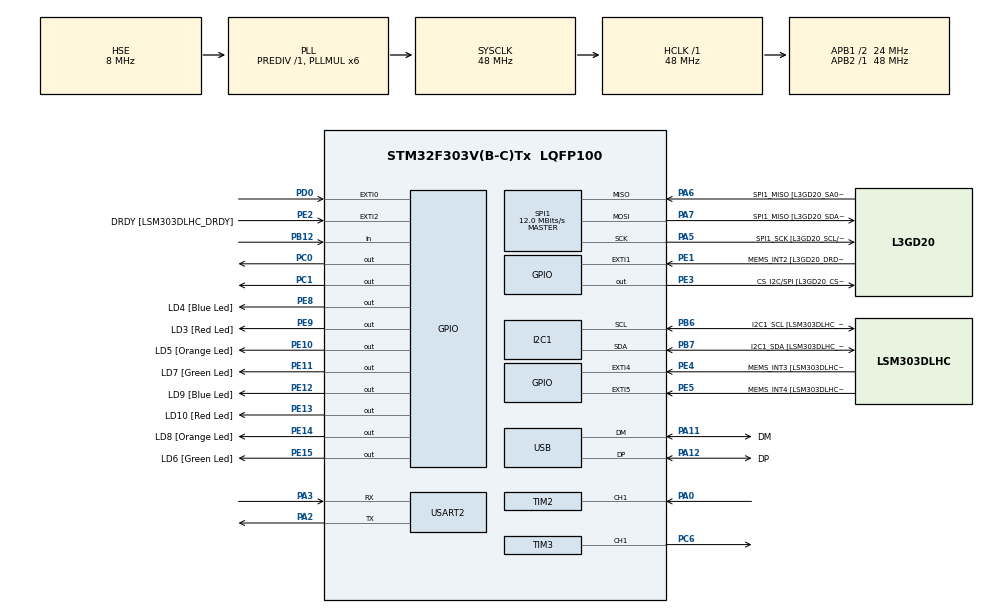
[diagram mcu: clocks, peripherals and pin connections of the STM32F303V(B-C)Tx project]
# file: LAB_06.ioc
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I2C1.Timing=0x00201D2B
I2C1.Timing-I2C=0x2000090E
Mcu.Family=STM32F3
Mcu.Name=STM32F303V(B-C)Tx
Mcu.Package=LQFP100
NVIC.EXTI0_IRQn=true\:0\:0\:false\:false\:true\:true\:true\:true
NVIC.PriorityGroup=NVIC_PRIORITYGROUP_0
NVIC.TIM2_IRQn=true\:0\:0\:false\:false\:true\:true\:true\:true
PA0.Signal=S_TIM2_CH1_ETR
PA11.GPIO_Label=DM
PA11.Mode=Device
PA11.Signal=USB_DM
PA12.GPIO_Label=DP
PA12.Mode=Device
PA12.Signal=USB_DP
PA13.GPIO_Label=SWDIO
PA13.Mode=Serial_Wire
PA13.Signal=SYS_JTMS-SWDIO
PA14.GPIO_Label=SWCLK
PA14.Mode=Serial_Wire
PA14.Signal=SYS_JTCK-SWCLK
PA2.Mode=Asynchronous
PA2.Signal=USART2_TX
PA3.Mode=Asynchronous
PA3.Signal=USART2_RX
PA5.GPIO_Label=SPI1_SCK [L3GD20_SCL/SPC]
PA5.Mode=Full_Duplex_Master
PA5.Signal=SPI1_SCK
PA6.GPIO_Label=SPI1_MISO [L3GD20_SA0/SDO]
PA6.Mode=Full_Duplex_Master
PA6.Signal=SPI1_MISO
PA7.GPIO_Label=SPI1_MISO [L3GD20_SDA/SDI/SDO]
PA7.Mode=Full_Duplex_Master
PA7.Signal=SPI1_MOSI
PB12.Signal=GPIO_Input
PB3.GPIO_Label=SWO
PB3.Signal=SYS_JTDO-TRACESWO
PB6.GPIO_Label=I2C1_SCL [LSM303DLHC_SCL]
PB6.GPIO_Pu=GPIO_PULLUP
PB6.Mode=I2C
PB6.Signal=I2C1_SCL
PB7.GPIO_Label=I2C1_SDA [LSM303DLHC_SDA]
PB7.GPIO_Pu=GPIO_PULLUP
PB7.Mode=I2C
PB7.Signal=I2C1_SDA
PC0.Signal=GPIO_Output
PC1.Signal=GPIO_Output
PC14-OSC32_IN.GPIO_Label=OSC32_IN
PC14-OSC32_IN.Signal=RCC_OSC32_IN
PC15-OSC32_OUT.GPIO_Label=OSC32_OUT
PC15-OSC32_OUT.Signal=RCC_OSC32_OUT
PC6.Signal=S_TIM3_CH1
PD0.Signal=GPXTI0
PE1.GPIO_Label=MEMS_INT2 [L3GD20_DRDY/INT2]
PE1.GPIO_ModeDefaultEXTI=GPIO_MODE_EVT_RISING
PE1.Signal=GPXTI1
PE10.GPIO_Label=LD5 [Orange Led]
PE10.Signal=GPIO_Output
PE11.GPIO_Label=LD7 [Green Led]
PE11.Signal=GPIO_Output
PE12.GPIO_Label=LD9 [Blue Led]
PE12.Signal=GPIO_Output
PE13.GPIO_Label=LD10 [Red Led]
PE13.Signal=GPIO_Output
PE14.GPIO_Label=LD8 [Orange Led]
PE14.Signal=GPIO_Output
PE15.GPIO_Label=LD6 [Green Led]
PE15.Signal=GPIO_Output
PE2.GPIO_Label=DRDY [LSM303DLHC_DRDY]
PE2.GPIO_ModeDefaultEXTI=GPIO_MODE_EVT_RISING
PE2.Signal=GPXTI2
PE3.GPIO_Label=CS_I2C/SPI [L3GD20_CS_I2C/SPI]
PE3.Signal=GPIO_Output
PE4.GPIO_Label=MEMS_INT3 [LSM303DLHC_INT1]
PE4.GPIO_ModeDefaultEXTI=GPIO_MODE_EVT_RISING
PE4.Signal=GPXTI4
PE5.GPIO_Label=MEMS_INT4 [LSM303DLHC_INT2]
PE5.GPIO_ModeDefaultEXTI=GPIO_MODE_EVT_RISING
PE5.Signal=GPXTI5
PE8.GPIO_Label=LD4 [Blue Led]
PE8.Signal=GPIO_Output
PE9.GPIO_Label=LD3 [Red Led]
PE9.Signal=GPIO_Output
PF0-OSC_IN.GPIO_Label=OSC_IN
PF0-OSC_IN.Mode=HSE-External-Clock-Source
PF0-OSC_IN.Signal=RCC_OSC_IN
PF1-OSC_OUT.GPIO_Label=OSC_OUT
PF1-OSC_OUT.Signal=RCC_OSC_OUT
ProjectManager.HeapSize=0x200
ProjectManager.StackSize=0x400
ProjectManager.TargetToolchain=CMake
RCC.AHBFreq_Value=48000000
RCC.APB1CLKDivider=RCC_HCLK_DIV2
RCC.APB1Freq_Value=24000000
RCC.APB1TimFreq_Value=48000000
RCC.APB2Freq_Value=48000000
RCC.APB2TimFreq_Value=48000000
RCC.CortexFreq_Value=48000000
RCC.HCLKFreq_Value=48000000
RCC.HSE_VALUE=8000000
RCC.HSI_VALUE=8000000
RCC.LSE_VALUE=32768
RCC.PLLMUL=RCC_PLL_MUL6
RCC.SYSCLKFreq_VALUE=48000000
RCC.SYSCLKSourceVirtual=RCC_SYSCLKSOURCE_PLLCLK
RCC.USBFreq_Value=48000000
SH.S_TIM2_CH1_ETR.0=TIM2_CH1,Input_Capture1_from_TI1
SH.S_TIM3_CH1.0=TIM3_CH1,PWM Generation1 CH1
SPI1.BaudRatePrescaler=SPI_BAUDRATEPRESCALER_4
SPI1.BaudRatePrescaler-Full_Duplex_Master=SPI_BAUDRATEPRESCALER_2
SPI1.CalculateBaudRate=12.0 MBits/s
SPI1.CalculateBaudRate-Full_Duplex_Master=24.0 MBits/s
SPI1.Direction=SPI_DIRECTION_2LINES
SPI1.Mode=SPI_MODE_MASTER
SPI1.Mode-Full_Duplex_Master=SPI_MODE_MASTER
SPI1.VirtualType=VM_MASTER
TIM2.Channel-Input_Capture1_from_TI1=TIM_CHANNEL_1
TIM2.Prescaler=47
TIM3.Prescaler=47
USART1.VirtualMode-Asynchronous=VM_ASYNC
VP_TIM2_VS_ClockSourceINT.Mode=Internal
VP_TIM3_VS_ClockSourceINT.Mode=Internal
board=STM32F3DISCOVERY

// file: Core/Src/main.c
/* USER CODE BEGIN Header */
/**
  ******************************************************************************
  * @file           : main.c
  * @brief          : Main program body
  ******************************************************************************
  * @attention
  *
  * Copyright (c) 2026 STMicroelectronics.
  * All rights reserved.
  *
  * This software is licensed under terms that can be found in the LICENSE file
  * in the root directory of this software component.
  * If no LICENSE file comes with this software, it is provided AS-IS.
  *
  ******************************************************************************
  */
/* USER CODE END Header */
#include "main.h"

/* USER CODE BEGIN Includes */
#include <stdio.h>
#include "string.h"
#include <stdarg.h>
/* USER CODE END Includes */

/* USER CODE BEGIN PD */
#define SAMPLES 10
#define PPR 330
/* USER CODE END PD */

I2C_HandleTypeDef hi2c1;

SPI_HandleTypeDef hspi1;

TIM_HandleTypeDef htim2;
TIM_HandleTypeDef htim3;

UART_HandleTypeDef huart2;

PCD_HandleTypeDef hpcd_USB_FS;

/* USER CODE BEGIN PV */
uint32_t averagePeriod = 0;
uint32_t frequency = 0;
uint32_t rpm = 0;
volatile uint32_t last_captured_value = 0;
volatile uint32_t captured_period = 0;
volatile uint8_t sample_count = 0;
volatile uint64_t period_sum = 0;
volatile uint8_t print_flag = 0;
/* USER CODE END PV */

void SystemClock_Config(void);
static void MX_GPIO_Init(void);
static void MX_I2C1_Init(void);
static void MX_SPI1_Init(void);
static void MX_TIM2_Init(void);
static void MX_USB_PCD_Init(void);
static void MX_USART1_UART_Init(void);
static void MX_TIM3_Init(void);

/* USER CODE BEGIN 0 */
void myPrintf(const char *fmt, ...) {
      char buffer[100];
          va_list args;
              va_start(args, fmt);
                  vsnprintf(buffer, sizeof(buffer), fmt, args);
                      va_end(args);
                          HAL_UART_Transmit(&huart2, (uint8_t*)buffer, strlen(buffer), HAL_MAX_DELAY);
}

void HAL_TIM_IC_CaptureCallback(TIM_HandleTypeDef *htim) {
    if (htim->Instance == TIM2) {
        uint32_t current_capture = HAL_TIM_ReadCapturedValue(htim, TIM_CHANNEL_1);
        if (last_captured_value != 0) {
            if (current_capture >= last_captured_value) captured_period = current_capture - last_captured_value;
            period_sum += captured_period;
            sample_count++;
            if (sample_count >= SAMPLES) {
                averagePeriod = period_sum / SAMPLES;
                period_sum = 0;
                sample_count = 0;
                print_flag = 1;
            }
        }
        last_captured_value = current_capture;
    }
}
/* USER CODE END 0 */

int main(void)
{

  /* MCU Configuration--------------------------------------------------------*/

  /* Reset of all peripherals, Initializes the Flash interface and the Systick. */
  HAL_Init();

  /* Configure the system clock */
  SystemClock_Config();

  /* Initialize all configured peripherals */
  MX_GPIO_Init();
  MX_I2C1_Init();
  MX_SPI1_Init();
  MX_TIM2_Init();
  MX_USB_PCD_Init();
  MX_USART1_UART_Init();
  MX_TIM3_Init();
  /* USER CODE BEGIN 2 */
  HAL_TIM_IC_Start_IT(&htim2, TIM_CHANNEL_1);
  /* USER CODE END 2 */

  /* Infinite loop */
  /* USER CODE BEGIN WHILE */
  while (1)
  {
    if (print_flag) {
          print_flag = 0;

      //     print_flag = 0;
      // }
      // TASK 2:
  //   if (new_capture_ready == 1) {
  //       if (period > 0) {
  //           float frequency = 1000000.0f / (float)period;

  //           int freq_whole = (int)frequency;
  //           int freq_decimal = (int)((frequency - freq_whole) * 100);

  //           myPrintf("IC Frequency: %d.%02d Hz\r\n", freq_whole, freq_decimal);
  //       }
  //       new_capture_ready = 0;

  // }
  // Task 3: Motor Speed Measurement using Polling
      // 1. Wait for signal to go HIGH
      // while (HAL_GPIO_ReadPin(GPIOB, GPIO_PIN_5) == GPIO_PIN_RESET);

      // // 2. Wait for the FIRST falling edge (transition from HIGH to LOW)
      // while (HAL_GPIO_ReadPin(GPIOB, GPIO_PIN_5) == GPIO_PIN_SET);

      // // Start TIM3 counter (1 µs tick base from Prescaler = 47)
      // __HAL_TIM_SET_COUNTER(&htim3, 0);
      // HAL_TIM_Base_Start(&htim3);

      // // 3. Wait for signal to go LOW back to HIGH
      // while (HAL_GPIO_ReadPin(GPIOB, GPIO_PIN_5) == GPIO_PIN_RESET);

      // // 4. Wait for the SECOND falling edge
      // while (HAL_GPIO_ReadPin(GPIOB, GPIO_PIN_5) == GPIO_PIN_SET);

      // // Stop TIM3 and capture elapsed ticks
      // HAL_TIM_Base_Stop(&htim3);
      // uint32_t captured_ticks = __HAL_TIM_GET_COUNTER(&htim3);

      // if (captured_ticks > 0) {
      //     float enc_frequency = 1000000.0f / (float)captured_ticks;
      //     float ppr = 374.0f; // Motor Pulses Per Revolution
      //     float rpm = (60.0f * enc_frequency) / ppr;

      //     int rpm_whole = (int)rpm;
      //     int rpm_decimal = (int)((rpm - rpm_whole) * 100);

      //     myPrintf("Motor RPM: %d.%02d RPM\r\n", rpm_whole, rpm_decimal);
      // }

      // HAL_Delay(100);

      //TASK_4:
      if (new_capture_ready == 1) {
          if (period > 0) {
              // 1. Calculate encoder frequency from the input capture period
              float frequency = 1000000.0f / (float)period;

              // 2. Calculate Motor RPM using the formula: RPM = (60 * frequency) / PPR[cite: 10]
              float ppr = 374.0f; // Standard Pulses Per Revolution for geared DC motors
              float rpm = (60.0f * frequency) / ppr;

              // Split frequency into integers for clean printing
              int freq_whole = (int)frequency;
              int freq_decimal = (int)((frequency - freq_whole) * 100);

              // Split RPM into integers for clean printing
              int rpm_whole = (int)rpm;
              int rpm_decimal = (int)((rpm - rpm_whole) * 100);

              // Print both frequency and calculated motor RPM over UART
              myPrintf("Encoder Freq: %d.%02d Hz | Motor RPM: %d.%02d RPM\r\n",
                       freq_whole, freq_decimal, rpm_whole, rpm_decimal);
          }
          new_capture_ready = 0;
      }

      HAL_Delay(100);
      /* USER CODE END WHILE */

  }
}

void SystemClock_Config(void)
{
  RCC_OscInitTypeDef RCC_OscInitStruct = {0};
  RCC_ClkInitTypeDef RCC_ClkInitStruct = {0};
  RCC_PeriphCLKInitTypeDef PeriphClkInit = {0};

  /** Initializes the RCC Oscillators according to the specified parameters
  * in the RCC_OscInitTypeDef structure.
  */
  RCC_OscInitStruct.OscillatorType = RCC_OSCILLATORTYPE_HSI|RCC_OSCILLATORTYPE_HSE;
  RCC_OscInitStruct.HSEState = RCC_HSE_BYPASS;
  RCC_OscInitStruct.HSEPredivValue = RCC_HSE_PREDIV_DIV1;
  RCC_OscInitStruct.HSIState = RCC_HSI_ON;
  RCC_OscInitStruct.HSICalibrationValue = RCC_HSICALIBRATION_DEFAULT;
  RCC_OscInitStruct.PLL.PLLState = RCC_PLL_ON;
  RCC_OscInitStruct.PLL.PLLSource = RCC_PLLSOURCE_HSE;
  RCC_OscInitStruct.PLL.PLLMUL = RCC_PLL_MUL6;
  if (HAL_RCC_OscConfig(&RCC_OscInitStruct) != HAL_OK)
  {
    Error_Handler();
  }

  /** Initializes the CPU, AHB and APB buses clocks
  */
  RCC_ClkInitStruct.ClockType = RCC_CLOCKTYPE_HCLK|RCC_CLOCKTYPE_SYSCLK
                              |RCC_CLOCKTYPE_PCLK1|RCC_CLOCKTYPE_PCLK2;
  RCC_ClkInitStruct.SYSCLKSource = RCC_SYSCLKSOURCE_PLLCLK;
  RCC_ClkInitStruct.AHBCLKDivider = RCC_SYSCLK_DIV1;
  RCC_ClkInitStruct.APB1CLKDivider = RCC_HCLK_DIV2;
  RCC_ClkInitStruct.APB2CLKDivider = RCC_HCLK_DIV1;

  if (HAL_RCC_ClockConfig(&RCC_ClkInitStruct, FLASH_LATENCY_1) != HAL_OK)
  {
    Error_Handler();
  }
  PeriphClkInit.PeriphClockSelection = RCC_PERIPHCLK_USB|RCC_PERIPHCLK_USART2
                              |RCC_PERIPHCLK_I2C1;
  PeriphClkInit.Usart2ClockSelection = RCC_USART2CLKSOURCE_PCLK1;
  PeriphClkInit.I2c1ClockSelection = RCC_I2C1CLKSOURCE_HSI;
  PeriphClkInit.USBClockSelection = RCC_USBCLKSOURCE_PLL;
  if (HAL_RCCEx_PeriphCLKConfig(&PeriphClkInit) != HAL_OK)
  {
    Error_Handler();
  }
}

static void MX_I2C1_Init(void)
{

  hi2c1.Instance = I2C1;
  hi2c1.Init.Timing = 0x00201D2B;
  hi2c1.Init.OwnAddress1 = 0;
  hi2c1.Init.AddressingMode = I2C_ADDRESSINGMODE_7BIT;
  hi2c1.Init.DualAddressMode = I2C_DUALADDRESS_DISABLE;
  hi2c1.Init.OwnAddress2 = 0;
  hi2c1.Init.OwnAddress2Masks = I2C_OA2_NOMASK;
  hi2c1.Init.GeneralCallMode = I2C_GENERALCALL_DISABLE;
  hi2c1.Init.NoStretchMode = I2C_NOSTRETCH_DISABLE;
  if (HAL_I2C_Init(&hi2c1) != HAL_OK)
  {
    Error_Handler();
  }

  /** Configure Analogue filter
  */
  if (HAL_I2CEx_ConfigAnalogFilter(&hi2c1, I2C_ANALOGFILTER_ENABLE) != HAL_OK)
  {
    Error_Handler();
  }

  /** Configure Digital filter
  */
  if (HAL_I2CEx_ConfigDigitalFilter(&hi2c1, 0) != HAL_OK)
  {
    Error_Handler();
  }

}

static void MX_SPI1_Init(void)
{

  /* SPI1 parameter configuration*/
  hspi1.Instance = SPI1;
  hspi1.Init.Mode = SPI_MODE_MASTER;
  hspi1.Init.Direction = SPI_DIRECTION_2LINES;
  hspi1.Init.DataSize = SPI_DATASIZE_4BIT;
  hspi1.Init.CLKPolarity = SPI_POLARITY_LOW;
  hspi1.Init.CLKPhase = SPI_PHASE_1EDGE;
  hspi1.Init.NSS = SPI_NSS_SOFT;
  hspi1.Init.BaudRatePrescaler = SPI_BAUDRATEPRESCALER_4;
  hspi1.Init.FirstBit = SPI_FIRSTBIT_MSB;
  hspi1.Init.TIMode = SPI_TIMODE_DISABLE;
  hspi1.Init.CRCCalculation = SPI_CRCCALCULATION_DISABLE;
  hspi1.Init.CRCPolynomial = 7;
  hspi1.Init.CRCLength = SPI_CRC_LENGTH_DATASIZE;
  hspi1.Init.NSSPMode = SPI_NSS_PULSE_ENABLE;
  if (HAL_SPI_Init(&hspi1) != HAL_OK)
  {
    Error_Handler();
  }

}

static void MX_TIM2_Init(void)
{

  TIM_ClockConfigTypeDef sClockSourceConfig = {0};
  TIM_MasterConfigTypeDef sMasterConfig = {0};
  TIM_IC_InitTypeDef sConfigIC = {0};

  htim2.Instance = TIM2;
  htim2.Init.Prescaler = 47;
  htim2.Init.CounterMode = TIM_COUNTERMODE_UP;
  htim2.Init.Period = 4294967295;
  htim2.Init.ClockDivision = TIM_CLOCKDIVISION_DIV1;
  htim2.Init.AutoReloadPreload = TIM_AUTORELOAD_PRELOAD_DISABLE;
  if (HAL_TIM_Base_Init(&htim2) != HAL_OK)
  {
    Error_Handler();
  }
  sClockSourceConfig.ClockSource = TIM_CLOCKSOURCE_INTERNAL;
  if (HAL_TIM_ConfigClockSource(&htim2, &sClockSourceConfig) != HAL_OK)
  {
    Error_Handler();
  }
  if (HAL_TIM_IC_Init(&htim2) != HAL_OK)
  {
    Error_Handler();
  }
  sMasterConfig.MasterOutputTrigger = TIM_TRGO_RESET;
  sMasterConfig.MasterSlaveMode = TIM_MASTERSLAVEMODE_DISABLE;
  if (HAL_TIMEx_MasterConfigSynchronization(&htim2, &sMasterConfig) != HAL_OK)
  {
    Error_Handler();
  }
  sConfigIC.ICPolarity = TIM_INPUTCHANNELPOLARITY_RISING;
  sConfigIC.ICSelection = TIM_ICSELECTION_DIRECTTI;
  sConfigIC.ICPrescaler = TIM_ICPSC_DIV1;
  sConfigIC.ICFilter = 0;
  if (HAL_TIM_IC_ConfigChannel(&htim2, &sConfigIC, TIM_CHANNEL_1) != HAL_OK)
  {
    Error_Handler();
  }

}

static void MX_TIM3_Init(void)
{

  TIM_ClockConfigTypeDef sClockSourceConfig = {0};
  TIM_MasterConfigTypeDef sMasterConfig = {0};

  htim3.Instance = TIM3;
  htim3.Init.Prescaler = 47;
  htim3.Init.CounterMode = TIM_COUNTERMODE_UP;
  htim3.Init.Period = 65535;
  htim3.Init.ClockDivision = TIM_CLOCKDIVISION_DIV1;
  htim3.Init.AutoReloadPreload = TIM_AUTORELOAD_PRELOAD_DISABLE;
  if (HAL_TIM_Base_Init(&htim3) != HAL_OK)
  {
    Error_Handler();
  }
  sClockSourceConfig.ClockSource = TIM_CLOCKSOURCE_INTERNAL;
  if (HAL_TIM_ConfigClockSource(&htim3, &sClockSourceConfig) != HAL_OK)
  {
    Error_Handler();
  }
  sMasterConfig.MasterOutputTrigger = TIM_TRGO_RESET;
  sMasterConfig.MasterSlaveMode = TIM_MASTERSLAVEMODE_DISABLE;
  if (HAL_TIMEx_MasterConfigSynchronization(&htim3, &sMasterConfig) != HAL_OK)
  {
    Error_Handler();
  }

}

static void MX_TIM3_Init(void)
{

  TIM_ClockConfigTypeDef sClockSourceConfig = {0};
  TIM_MasterConfigTypeDef sMasterConfig = {0};
  TIM_OC_InitTypeDef sConfigOC = {0};

  htim3.Instance = TIM3;
  htim3.Init.Prescaler = 47;
  htim3.Init.CounterMode = TIM_COUNTERMODE_UP;
  htim3.Init.Period = 65535;
  htim3.Init.ClockDivision = TIM_CLOCKDIVISION_DIV1;
  htim3.Init.AutoReloadPreload = TIM_AUTORELOAD_PRELOAD_DISABLE;
  if (HAL_TIM_Base_Init(&htim3) != HAL_OK)
  {
    Error_Handler();
  }
  sClockSourceConfig.ClockSource = TIM_CLOCKSOURCE_INTERNAL;
  if (HAL_TIM_ConfigClockSource(&htim3, &sClockSourceConfig) != HAL_OK)
  {
    Error_Handler();
  }
  if (HAL_TIM_PWM_Init(&htim3) != HAL_OK)
  {
    Error_Handler();
  }
  sMasterConfig.MasterOutputTrigger = TIM_TRGO_RESET;
  sMasterConfig.MasterSlaveMode = TIM_MASTERSLAVEMODE_DISABLE;
  if (HAL_TIMEx_MasterConfigSynchronization(&htim3, &sMasterConfig) != HAL_OK)
  {
    Error_Handler();
  }
  sConfigOC.OCMode = TIM_OCMODE_PWM1;
  sConfigOC.Pulse = 0;
  sConfigOC.OCPolarity = TIM_OCPOLARITY_HIGH;
  sConfigOC.OCFastMode = TIM_OCFAST_DISABLE;
  if (HAL_TIM_PWM_ConfigChannel(&htim3, &sConfigOC, TIM_CHANNEL_1) != HAL_OK)
  {
    Error_Handler();
  }
  HAL_TIM_MspPostInit(&htim3);

}

static void MX_TIM4_Init(void)
{

  TIM_ClockConfigTypeDef sClockSourceConfig = {0};
  TIM_MasterConfigTypeDef sMasterConfig = {0};

  htim4.Instance = TIM4;
  htim4.Init.Prescaler = 47;
  htim4.Init.CounterMode = TIM_COUNTERMODE_UP;
  htim4.Init.Period = 65535;
  htim4.Init.ClockDivision = TIM_CLOCKDIVISION_DIV1;
  htim4.Init.AutoReloadPreload = TIM_AUTORELOAD_PRELOAD_DISABLE;
  if (HAL_TIM_Base_Init(&htim4) != HAL_OK)
  {
    Error_Handler();
  }
  sClockSourceConfig.ClockSource = TIM_CLOCKSOURCE_INTERNAL;
  if (HAL_TIM_ConfigClockSource(&htim4, &sClockSourceConfig) != HAL_OK)
  {
    Error_Handler();
  }
  sMasterConfig.MasterOutputTrigger = TIM_TRGO_RESET;
  sMasterConfig.MasterSlaveMode = TIM_MASTERSLAVEMODE_DISABLE;
  if (HAL_TIMEx_MasterConfigSynchronization(&htim4, &sMasterConfig) != HAL_OK)
  {
    Error_Handler();
  }

}

static void MX_USART2_UART_Init(void)
{

  huart2.Instance = USART2;
  huart2.Init.BaudRate = 38400;
  huart2.Init.WordLength = UART_WORDLENGTH_8B;
  huart2.Init.StopBits = UART_STOPBITS_1;
  huart2.Init.Parity = UART_PARITY_NONE;
  huart2.Init.Mode = UART_MODE_TX_RX;
  huart2.Init.HwFlowCtl = UART_HWCONTROL_NONE;
  huart2.Init.OverSampling = UART_OVERSAMPLING_16;
  huart2.Init.OneBitSampling = UART_ONE_BIT_SAMPLE_DISABLE;
  huart2.AdvancedInit.AdvFeatureInit = UART_ADVFEATURE_NO_INIT;
  if (HAL_UART_Init(&huart2) != HAL_OK)
  {
    Error_Handler();
  }

}

static void MX_USB_PCD_Init(void)
{

  hpcd_USB_FS.Instance = USB;
  hpcd_USB_FS.Init.dev_endpoints = 8;
  hpcd_USB_FS.Init.speed = PCD_SPEED_FULL;
  hpcd_USB_FS.Init.phy_itface = PCD_PHY_EMBEDDED;
  hpcd_USB_FS.Init.low_power_enable = DISABLE;
  hpcd_USB_FS.Init.battery_charging_enable = DISABLE;
  if (HAL_PCD_Init(&hpcd_USB_FS) != HAL_OK)
  {
    Error_Handler();
  }

}

static void MX_GPIO_Init(void)
{
  GPIO_InitTypeDef GPIO_InitStruct = {0};

  /* GPIO Ports Clock Enable */
  __HAL_RCC_GPIOE_CLK_ENABLE();
  __HAL_RCC_GPIOC_CLK_ENABLE();
  __HAL_RCC_GPIOF_CLK_ENABLE();
  __HAL_RCC_GPIOA_CLK_ENABLE();
  __HAL_RCC_GPIOB_CLK_ENABLE();
  __HAL_RCC_GPIOD_CLK_ENABLE();

  /*Configure GPIO pin Output Level */
  HAL_GPIO_WritePin(GPIOE, CS_I2C_SPI_Pin|LD4_Pin|LD3_Pin|LD5_Pin
                          |LD7_Pin|LD9_Pin|LD10_Pin|LD8_Pin
                          |LD6_Pin, GPIO_PIN_RESET);

  /*Configure GPIO pin Output Level */
  HAL_GPIO_WritePin(GPIOC, GPIO_PIN_0|GPIO_PIN_1, GPIO_PIN_RESET);

  /*Configure GPIO pins : DRDY_Pin MEMS_INT3_Pin MEMS_INT4_Pin MEMS_INT2_Pin */
  GPIO_InitStruct.Pin = DRDY_Pin|MEMS_INT3_Pin|MEMS_INT4_Pin|MEMS_INT2_Pin;
  GPIO_InitStruct.Mode = GPIO_MODE_EVT_RISING;
  GPIO_InitStruct.Pull = GPIO_NOPULL;
  HAL_GPIO_Init(GPIOE, &GPIO_InitStruct);

  /*Configure GPIO pins : CS_I2C_SPI_Pin LD4_Pin LD3_Pin LD5_Pin
                           LD7_Pin LD9_Pin LD10_Pin LD8_Pin
                           LD6_Pin */
  GPIO_InitStruct.Pin = CS_I2C_SPI_Pin|LD4_Pin|LD3_Pin|LD5_Pin
                          |LD7_Pin|LD9_Pin|LD10_Pin|LD8_Pin
                          |LD6_Pin;
  GPIO_InitStruct.Mode = GPIO_MODE_OUTPUT_PP;
  GPIO_InitStruct.Pull = GPIO_NOPULL;
  GPIO_InitStruct.Speed = GPIO_SPEED_FREQ_LOW;
  HAL_GPIO_Init(GPIOE, &GPIO_InitStruct);

  /*Configure GPIO pins : PC0 PC1 */
  GPIO_InitStruct.Pin = GPIO_PIN_0|GPIO_PIN_1;
  GPIO_InitStruct.Mode = GPIO_MODE_OUTPUT_PP;
  GPIO_InitStruct.Pull = GPIO_NOPULL;
  GPIO_InitStruct.Speed = GPIO_SPEED_FREQ_LOW;
  HAL_GPIO_Init(GPIOC, &GPIO_InitStruct);

  /*Configure GPIO pin : PB12 */
  GPIO_InitStruct.Pin = GPIO_PIN_12;
  GPIO_InitStruct.Mode = GPIO_MODE_INPUT;
  GPIO_InitStruct.Pull = GPIO_NOPULL;
  HAL_GPIO_Init(GPIOB, &GPIO_InitStruct);

  /*Configure GPIO pin : PD0 */
  GPIO_InitStruct.Pin = GPIO_PIN_0;
  GPIO_InitStruct.Mode = GPIO_MODE_IT_RISING;
  GPIO_InitStruct.Pull = GPIO_NOPULL;
  HAL_GPIO_Init(GPIOD, &GPIO_InitStruct);

  /* EXTI interrupt init*/
  HAL_NVIC_SetPriority(EXTI0_IRQn, 0, 0);
  HAL_NVIC_EnableIRQ(EXTI0_IRQn);

}

void Error_Handler(void)
{
  __disable_irq();
  while (1)
  {
  }
}
